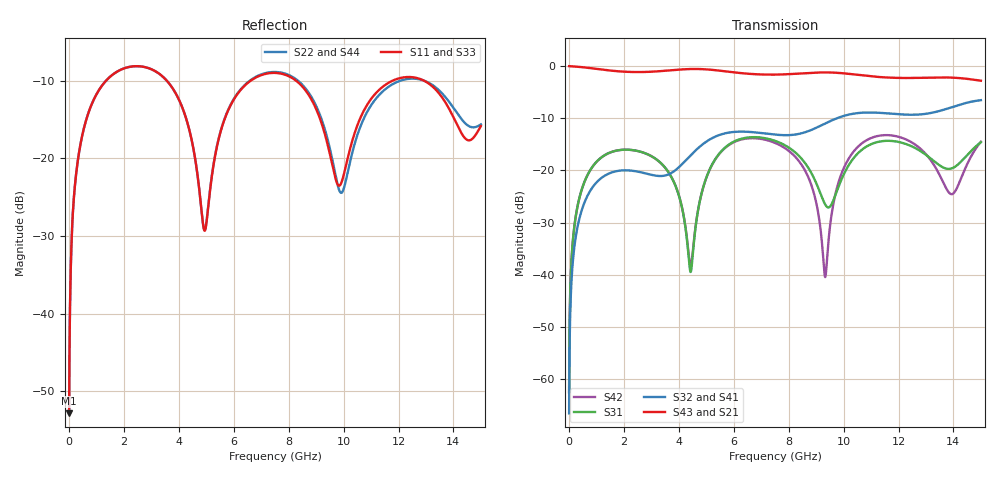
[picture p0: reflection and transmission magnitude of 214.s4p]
! Created with skrf 1.8.0 (http://scikit-rf.org).
# GHz S RI R 50.0
!freq ReS11 ImS11 ReS12 ImS12 ReS13 ImS13
! ReS14 ImS14
! ReS21 ImS21 ReS22 ImS22 ReS23 ImS23
! ReS24 ImS24
! ReS31 ImS31 ReS32 ImS32 ReS33 ImS33
! ReS34 ImS34
! ReS41 ImS41 ReS42 ImS42 ReS43 ImS43
! ReS44 ImS44
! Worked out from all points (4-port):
!   2499 points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, 5 MHz to 15 GHz, reference 50 ohm
!   strongest paths, dB at 5 MHz, 3.476 GHz, 7.19 GHz, 11.1 GHz, 15 GHz:
!     S43: 0.0, -0.9, -1.6, -2.0, -2.8
!     S21: 0.0, -0.9, -1.6, -2.0, -2.8
!     S32: -66.6, -21.0, -13.0, -8.9, -6.5
!     S41: -66.6, -21.0, -13.0, -8.9, -6.5
!     S31: -62.5, -19.3, -13.9, -14.8, -14.6
!     S42: -62.5, -19.3, -14.2, -13.6, -14.5
!   lowest |S11| = -52.8 dB at 5 MHz (marker M1), VSWR 1.00, Z = 50.2 + j0.138 ohm
!   |S11| at or under -10 dB: 3.563 GHz to 6.616 GHz (3.052 GHz wide, 60 % of centre); 8.271 GHz to 11.78 GHz (3.511 GHz wide, 35 % of centre); 12.93 GHz to end of sweep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
0.005  0.00182 0.00138  0.9981 -0.00354  9.25e-05 0.000741  -8.97e-05 -0.000462
       0.9981 -0.00354  0.00182 0.00138  -8.97e-05 -0.000462  9.25e-05 0.000741
       9.25e-05 0.000741  -8.97e-05 -0.000462  0.00182 0.00138  0.9981 -0.00354
       -8.97e-05 -0.000462  9.25e-05 0.000741  0.9981 -0.00354  0.00182 0.00138
0.3626511  0.036 0.1019  0.9501 -0.2516  0.0177 0.0492  -0.0146 -0.0298
           0.9501 -0.2516  0.036 0.1019  -0.0146 -0.0298  0.0177 0.0492
           0.0177 0.0492  -0.0146 -0.0298  0.036 0.1019  0.9501 -0.2516
           -0.0146 -0.0298  0.0177 0.0492  0.9501 -0.2516  0.036 0.1019
1.77574  0.3395 0.1309  0.3688 -0.8126  0.152 0.0338  -0.0959 0.0241
         0.3688 -0.8126  0.3394 0.131  -0.0959 0.0241  0.152 0.0339
         0.152 0.0338  -0.0959 0.0241  0.3393 0.1309  0.3689 -0.8127
         -0.0959 0.0241  0.152 0.0339  0.3689 -0.8127  0.3393 0.1309
4.433097  0.0708 -0.1208  -0.8604 -0.3713  -0.0105 -0.00175  -0.0519 0.1299
          -0.8604 -0.3713  0.071 -0.1205  -0.0514 0.1301  -0.012 -0.00222
          -0.0105 -0.00175  -0.0514 0.1301  0.0706 -0.1192  -0.8607 -0.3712
          -0.0519 0.1299  -0.012 -0.00222  -0.8607 -0.3712  0.0699 -0.1193
7.490621  0.355 -0.0107  -0.081 0.8247  0.1756 -0.0794  0.214 -0.053
          -0.081 0.8247  0.3598 -0.0135  0.2139 -0.0541  0.1742 -0.0597
          0.1756 -0.0794  0.2139 -0.0541  0.3553 -0.0106  -0.0823 0.8244
          0.214 -0.053  0.1742 -0.0597  -0.0823 0.8244  0.3604 -0.0123
9.328887  0.099 -0.1007  0.7491 0.4424  -0.0417 -0.0222  0.1376 -0.2458
          0.7491 0.4424  0.0985 -0.115  0.1359 -0.2468  -0.00943 -0.00119
          -0.0417 -0.0222  0.1359 -0.2468  0.0989 -0.1004  0.7479 0.4446
          0.1376 -0.2458  -0.00943 -0.00119  0.7479 0.4446  0.0991 -0.1142
15  0.1545 0.047  -0.7164 -0.1002  -0.039 0.1822  -0.0534 0.4689
    -0.7164 -0.1002  0.1654 -0.000941  -0.0484 0.4691  0.0397 0.1841
    -0.039 0.1822  -0.0484 0.4691  0.1571 0.0425  -0.7155 -0.111
    -0.0534 0.4689  0.0397 0.1841  -0.7155 -0.111  0.1632 -0.00303
